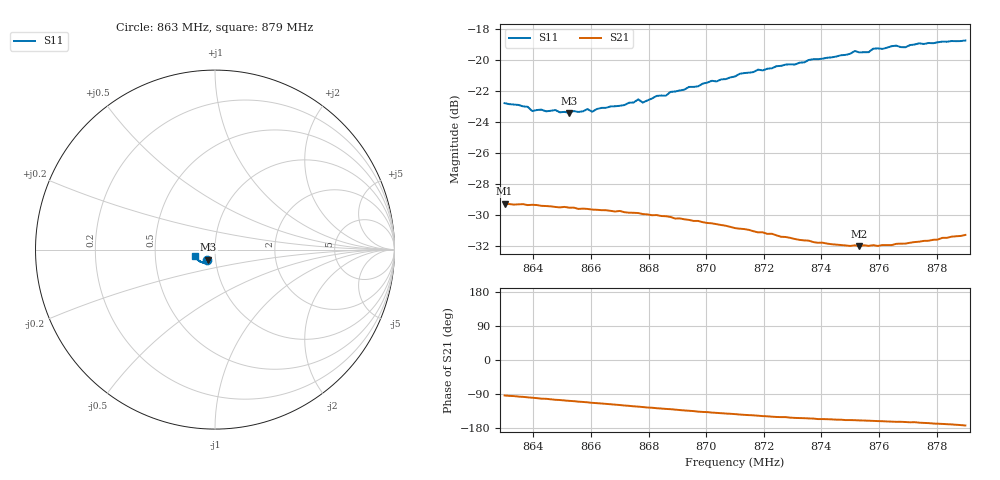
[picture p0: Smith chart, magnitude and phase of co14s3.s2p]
# HZ S RI R 50
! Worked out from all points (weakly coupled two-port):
!   101 points, 863 MHz to 879 MHz, reference 50 ohm
!   highest |S21| = -29.27 dB at 863 MHz (marker M1); lowest = -32.0 dB at 875.32 MHz (marker M2)
!   lowest |S11| = -23.4 dB at 865.24 MHz (marker M3), VSWR 1.14, Z = 46.1 - j5.15 ohm
!   |S11| at or under -10 dB: start of sweep to end of sweep
!   S12 and S22 are empty: the file has one direction only
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8.63e8  -0.0452 -0.0567  -0.00213 -0.0343  0 0  0 0
8.638e8  -0.0423 -0.0565  -0.00504 -0.0337  0 0  0 0
8.6396e8  -0.0409 -0.0548  -0.00566 -0.0337  0 0  0 0
8.6476e8  -0.0398 -0.0563  -0.00869 -0.0324  0 0  0 0
8.6524e8  -0.0381 -0.0557  -0.0102 -0.0318  0 0  0 0
8.6572e8  -0.0365 -0.0576  -0.0117 -0.031  0 0  0 0
8.6588e8  -0.0371 -0.0587  -0.0122 -0.0308  0 0  0 0
8.6604e8  -0.0352 -0.0582  -0.0129 -0.0303  0 0  0 0
8.6636e8  -0.0368 -0.0595  -0.0137 -0.0298  0 0  0 0
8.6716e8  -0.0358 -0.0619  -0.0162 -0.028  0 0  0 0
8.6764e8  -0.0369 -0.0648  -0.0175 -0.0269  0 0  0 0
8.678e8  -0.037 -0.0627  -0.0179 -0.0264  0 0  0 0
8.6844e8  -0.0386 -0.0663  -0.0194 -0.0247  0 0  0 0
8.71e8  -0.0504 -0.0726  -0.0229 -0.0174  0 0  0 0
8.7372e8  -0.0696 -0.0724  -0.0234 -0.0111  0 0  0 0
8.7484e8  -0.078 -0.0684  -0.0235 -0.00924  0 0  0 0
8.7516e8  -0.0833 -0.0668  -0.0236 -0.00914  0 0  0 0
8.7532e8  -0.0821 -0.0665  -0.0235 -0.00882  0 0  0 0
8.7644e8  -0.0931 -0.0598  -0.0242 -0.00758  0 0  0 0
8.7692e8  -0.094 -0.0567  -0.0246 -0.0072  0 0  0 0
8.774e8  -0.0995 -0.0535  -0.0251 -0.00653  0 0  0 0
8.79e8  -0.1091 -0.0378  -0.0271 -0.00341  0 0  0 0
